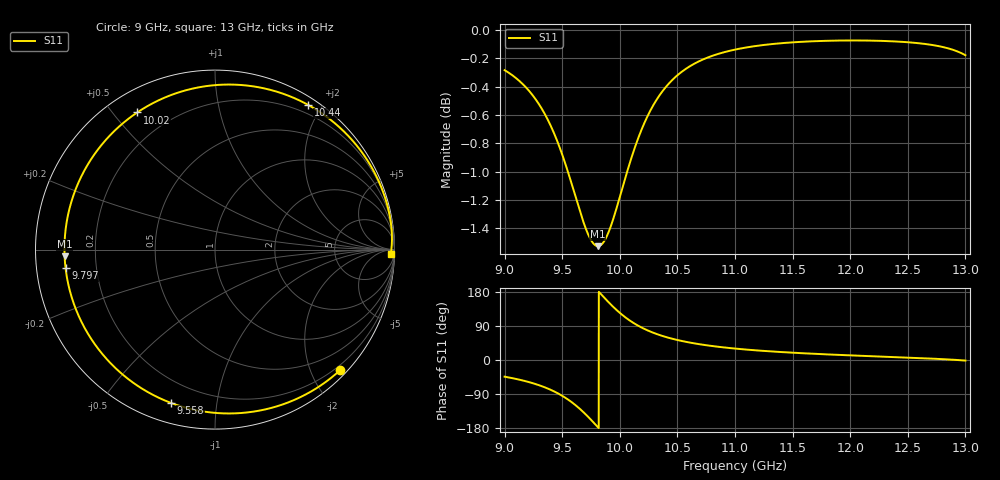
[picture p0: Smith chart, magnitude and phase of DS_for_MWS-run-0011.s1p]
! TOUCHSTONE file generated by CST DESIGN STUDIO
! Date and time: Tue Feb  4 14:12:02 2025
! Project name: C:\Work\MatlabApps\UnitCellOptimizationMatlab\CST\unitcell.cst
! Tree item: Tasks\Sweep1\SPara1\S-Parameters
! Header version: 2024
! Port assignment regex: !\s*Touchstone port\s*([0-9]+)\s*=\s*(CST MWS port|CST DES external port|CST DES block port)\s*(.+)\s* \(\"(.*)\"\)(\s*mode\s*([0-9]+))?.*
! Touchstone port assignment:
! Touchstone port 1 = CST DES external port 1 ("")
# GHz S MA R 50
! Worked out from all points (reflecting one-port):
!   4001 points, 9 GHz to 13 GHz, reference 50 ohm
!   lowest |S11| = -1.5 dB at 9.81 GHz (marker M1), VSWR 11.40, Z = 4.39 - j1.13 ohm
!   phase of S11 starts at -44 deg and turns -317 deg over the sweep
!   S11 on the Smith chart (normalised r, x): 9 GHz: 0.12, -2.47; 9.558 GHz: 0.09, -0.75; 9.797 GHz: 0.09, -0.06; 10.02 GHz: 0.09, +0.58; 10.44 GHz: 0.09, +1.83; 13 GHz: 38, -47
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9  0.9678 -44.0
9.145  0.958 -53.1
9.277  0.9442 -64.3
9.391  0.9267 -77.4
9.5  0.9036 -94.5
9.558  0.8888 -105.9
9.617  0.8728 -119.5
9.674  0.8578 -134.7
9.74  0.8444 -154.6
9.797  0.839 -173.1
9.81  0.8387 -177.4
9.852  0.8408 168.7
9.895  0.8469 154.8
9.949  0.859 138.4
10  0.8729 124.4
10.019  0.8784 119.6
10.093  0.8991 102.9
10.179  0.92 87.3
10.304  0.9426 70.3
10.442  0.9589 57.1
10.5  0.9638 52.7
10.602  0.9706 46.3
10.717  0.9761 40.4
11  0.9841 30.2
11.5  0.99 19.3
12  0.9915 12.2
12.5  0.9901 6.3
13  0.9796 -1.5
